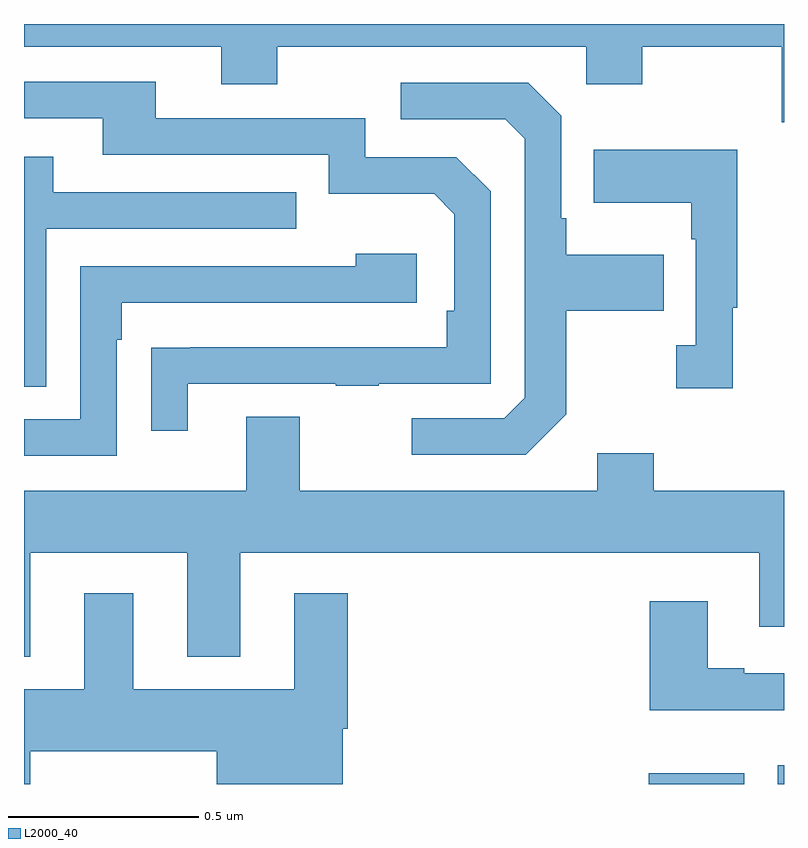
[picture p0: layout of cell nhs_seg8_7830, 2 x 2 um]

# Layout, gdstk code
import gdstk
lib = gdstk.Library(unit=1e-6, precision=1e-09)
def R(c, l, rs):  # rectangles x0, y0, x1, y1
    for r in rs: c.add(gdstk.rectangle(r[:2], r[2:], *l))
def P(c, l, *ps):  # polygons
    for p in ps: c.add(gdstk.Polygon(p, *l))
L2000_40 = (2000, 40)

nhs_seg8_7830 = lib.new_cell('nhs_seg8_7830')
R(nhs_seg8_7830, L2000_40, [(216.644,1107.9,216.895,1107.928), (216.983,1107.9,217,1107.949)])
P(nhs_seg8_7830, L2000_40, [(217,1109.9),(215,1109.9),(215,1109.84),(215.519,1109.84),(215.519,1109.741),(215.667,1109.741),(215.667,1109.84),(216.48,1109.84),(216.48,1109.741),(216.627,1109.741),(216.627,1109.84),(216.994,1109.84),(216.994,1109.641),(217,1109.641)],
  [(215.431,1108.953),(215.821,1108.953),(215.821,1108.948),(215.933,1108.948),(215.933,1108.953),(216.228,1108.953),(216.228,1109.46),(216.138,1109.55),(215.898,1109.55),(215.898,1109.652),(215.347,1109.652),(215.347,1109.748),(215,1109.748),(215,1109.652),(215.207,1109.652),(215.207,1109.556),(215.802,1109.556),(215.802,1109.453),(216.079,1109.453),(216.132,1109.4),(216.132,1109.146),(216.112,1109.146),(216.112,1109.049),(215.437,1109.049),(215.437,1109.048),(215.335,1109.048),(215.335,1108.83),(215.431,1108.83)],
  [(216.427,1108.873),(216.427,1109.146),(216.683,1109.146),(216.683,1109.293),(216.427,1109.293),(216.427,1109.389),(216.414,1109.389),(216.414,1109.658),(216.327,1109.745),(215.991,1109.745),(215.991,1109.649),(216.267,1109.649),(216.318,1109.598),(216.318,1108.917),(216.264,1108.863),(216.021,1108.863),(216.021,1108.767),(216.321,1108.767)],
  [(216.865,1109.153),(216.877,1109.153),(216.877,1109.569),(216.499,1109.569),(216.499,1109.429),(216.756,1109.429),(216.756,1109.333),(216.768,1109.333),(216.768,1109.054),(216.717,1109.054),(216.717,1108.941),(216.865,1108.941)],
  [(215.058,1109.361),(215.717,1109.361),(215.717,1109.457),(215.077,1109.457),(215.077,1109.551),(215,1109.551),(215,1108.945),(215.058,1108.945)],
  [(215.244,1109.069),(215.257,1109.069),(215.257,1109.166),(216.034,1109.166),(216.034,1109.296),(215.873,1109.296),(215.873,1109.262),(215.148,1109.262),(215.148,1108.86),(215,1108.86),(215,1108.764),(215.244,1108.764)],
  [(215.017,1108.508),(215.429,1108.508),(215.429,1108.235),(215.569,1108.235),(215.569,1108.508),(216.935,1108.508),(216.935,1108.314),(217,1108.314),(217,1108.672),(216.657,1108.672),(216.657,1108.771),(216.509,1108.771),(216.509,1108.672),(215.725,1108.672),(215.725,1108.867),(215.585,1108.867),(215.585,1108.672),(215,1108.672),(215,1108.235),(215.017,1108.235)],
  [(215.016,1107.986),(215.507,1107.986),(215.507,1107.9),(215.839,1107.9),(215.839,1108.046),(215.852,1108.046),(215.852,1108.402),(215.711,1108.402),(215.711,1108.15),(215.287,1108.15),(215.287,1108.402),(215.159,1108.402),(215.159,1108.15),(215,1108.15),(215,1107.9),(215.016,1107.9)],
  [(217,1108.191),(216.895,1108.191),(216.895,1108.204),(216.799,1108.204),(216.799,1108.381),(216.647,1108.381),(216.647,1108.094),(217,1108.094)])

lib.write_gds('nhs_seg8_7830.gds')
